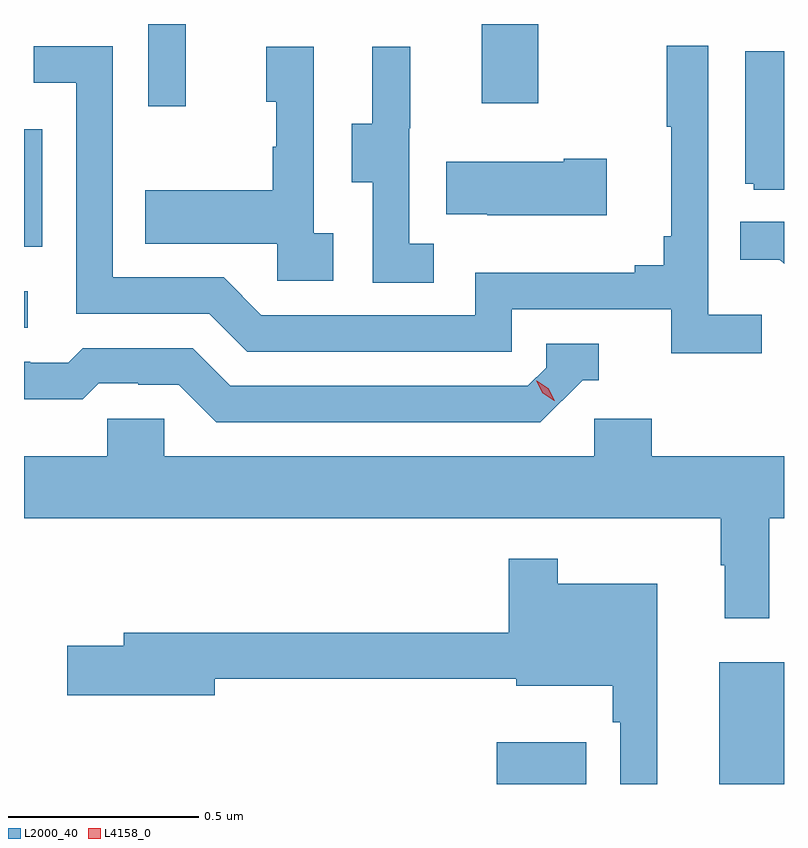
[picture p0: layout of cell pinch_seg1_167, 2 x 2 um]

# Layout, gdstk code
import gdstk
lib = gdstk.Library(unit=1e-6, precision=1e-09)
def R(c, l, rs):  # rectangles x0, y0, x1, y1
    for r in rs: c.add(gdstk.rectangle(r[:2], r[2:], *l))
def P(c, l, *ps):  # polygons
    for p in ps: c.add(gdstk.Polygon(p, *l))
L2000_40 = (2000, 40)
L4158_0 = (4158, 0)

pinch_seg1_167 = lib.new_cell('pinch_seg1_167')
R(pinch_seg1_167, L2000_40, [(1091.762,545.705,1091.998,545.815), (1092.347,545.705,1092.518,546.025), (1090.518,546.906,1090.528,547.002), (1090.518,547.119,1090.566,547.428), (1090.845,547.488,1090.943,547.705), (1091.723,547.497,1091.871,547.705)])
P(pinch_seg1_167, L2000_40, [(1092.46,546.94),(1092.318,546.94),(1092.318,547.648),(1092.21,547.648),(1092.21,547.435),(1092.221,547.435),(1092.221,547.147),(1092.202,547.147),(1092.202,547.07),(1092.125,547.07),(1092.125,547.051),(1091.706,547.051),(1091.706,546.939),(1091.142,546.939),(1091.043,547.038),(1090.752,547.038),(1090.752,547.647),(1090.543,547.647),(1090.543,547.551),(1090.656,547.551),(1090.656,546.942),(1091.006,546.942),(1091.105,546.843),(1091.802,546.843),(1091.802,546.954),(1092.221,546.954),(1092.221,546.838),(1092.46,546.838)],
  [(1091.596,547.127),(1091.532,547.127),(1091.532,547.431),(1091.534,547.431),(1091.534,547.645),(1091.435,547.645),(1091.435,547.443),(1091.381,547.443),(1091.381,547.288),(1091.436,547.288),(1091.436,547.024),(1091.596,547.024)],
  [(1091.332,547.154),(1091.28,547.154),(1091.28,547.645),(1091.156,547.645),(1091.156,547.5),(1091.182,547.5),(1091.182,547.382),(1091.172,547.382),(1091.172,547.267),(1090.837,547.267),(1090.837,547.127),(1091.184,547.127),(1091.184,547.029),(1091.332,547.029)],
  [(1092.518,547.633),(1092.416,547.633),(1092.416,547.284),(1092.438,547.284),(1092.438,547.269),(1092.518,547.269)],
  [(1092.052,547.35),(1091.939,547.35),(1091.939,547.342),(1091.629,547.342),(1091.629,547.205),(1091.737,547.205),(1091.737,547.202),(1092.052,547.202)],
  [(1092.518,547.184),(1092.403,547.184),(1092.403,547.085),(1092.507,547.085),(1092.518,547.074)],
  [(1091.988,546.768),(1092.031,546.768),(1092.031,546.864),(1091.892,546.864),(1091.892,546.801),(1091.844,546.753),(1091.061,546.753),(1090.962,546.852),(1090.673,546.852),(1090.634,546.813),(1090.535,546.813),(1090.535,546.816),(1090.518,546.816),(1090.518,546.717),(1090.673,546.717),(1090.715,546.759),(1090.818,546.759),(1090.818,546.756),(1090.925,546.756),(1091.024,546.657),(1091.877,546.657)],
  [(1092.479,546.404),(1092.518,546.404),(1092.518,546.568),(1092.17,546.568),(1092.17,546.666),(1092.018,546.666),(1092.018,546.568),(1090.887,546.568),(1090.887,546.666),(1090.737,546.666),(1090.737,546.568),(1090.518,546.568),(1090.518,546.404),(1092.351,546.404),(1092.351,546.281),(1092.362,546.281),(1092.362,546.141),(1092.479,546.141)],
  [(1092.184,546.232),(1091.923,546.232),(1091.923,546.298),(1091.794,546.298),(1091.794,546.103),(1090.781,546.103),(1090.781,546.069),(1090.632,546.069),(1090.632,545.939),(1091.02,545.939),(1091.02,545.982),(1091.813,545.982),(1091.813,545.963),(1092.067,545.963),(1092.067,545.867),(1092.087,545.867),(1092.087,545.705),(1092.184,545.705)])
P(pinch_seg1_167, L4158_0, [(1091.914,546.714),(1091.883,546.733),(1091.866,546.766),(1091.866,546.766),(1091.867,546.766),(1091.898,546.747),(1091.915,546.714),(1091.915,546.714)])

lib.write_gds('pinch_seg1_167.gds')
